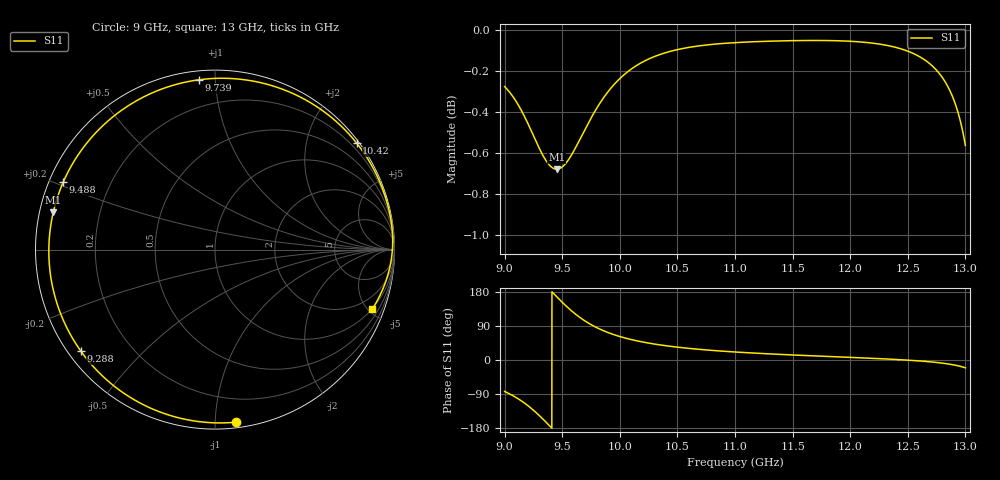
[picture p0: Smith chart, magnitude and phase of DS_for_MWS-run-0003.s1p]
! TOUCHSTONE file generated by CST DESIGN STUDIO
! Date and time: Tue Feb  4 15:57:18 2025
! Project name: C:\Work\MatlabApps\UnitCellOptimizationMatlab\CST\unitcell.cst
! Tree item: Tasks\Sweep1\SPara1\S-Parameters
! Header version: 2024
! Port assignment regex: !\s*Touchstone port\s*([0-9]+)\s*=\s*(CST MWS port|CST DES external port|CST DES block port)\s*(.+)\s* \(\"(.*)\"\)(\s*mode\s*([0-9]+))?.*
! Touchstone port assignment:
! Touchstone port 1 = CST DES external port 1 ("")
# GHz S MA R 50
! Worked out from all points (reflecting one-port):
!   4001 points, 9 GHz to 13 GHz, reference 50 ohm
!   lowest |S11| = -0.7 dB at 9.452 GHz (marker M1), VSWR 25.61, Z = 1.98 + j5.68 ohm
!   phase of S11 starts at -83 deg and turns -298 deg over the sweep
!   S11 on the Smith chart (normalised r, x): 9 GHz: 0.04, -1.13; 9.288 GHz: 0.04, -0.34; 9.488 GHz: 0.04, +0.21; 9.739 GHz: 0.05, +0.91; 10.42 GHz: 0.06, +2.99; 13 GHz: 0.98, -5.32
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9  0.9686 -83.0
9.023  0.9671 -86.3
9.087  0.9618 -96.7
9.159  0.9542 -110.7
9.225  0.9458 -126.0
9.288  0.9374 -142.8
9.332  0.932 -155.6
9.373  0.9281 -168.2
9.412  0.9257 179.6
9.452  0.9248 167.0
9.488  0.9255 156.0
9.5  0.926 152.4
9.557  0.93 136.1
9.614  0.9358 121.4
9.673  0.9427 108.1
9.739  0.9504 95.3
9.864  0.963 76.6
10  0.9729 62.0
10.185  0.9816 48.3
10.418  0.9875 36.9
10.5  0.9888 33.9
11  0.9927 21.1
11.5  0.9938 13.3
12  0.9935 6.9
12.5  0.988 -0.4
12.798  0.9737 -8.2
12.9  0.9613 -13.0
13  0.9372 -20.6
